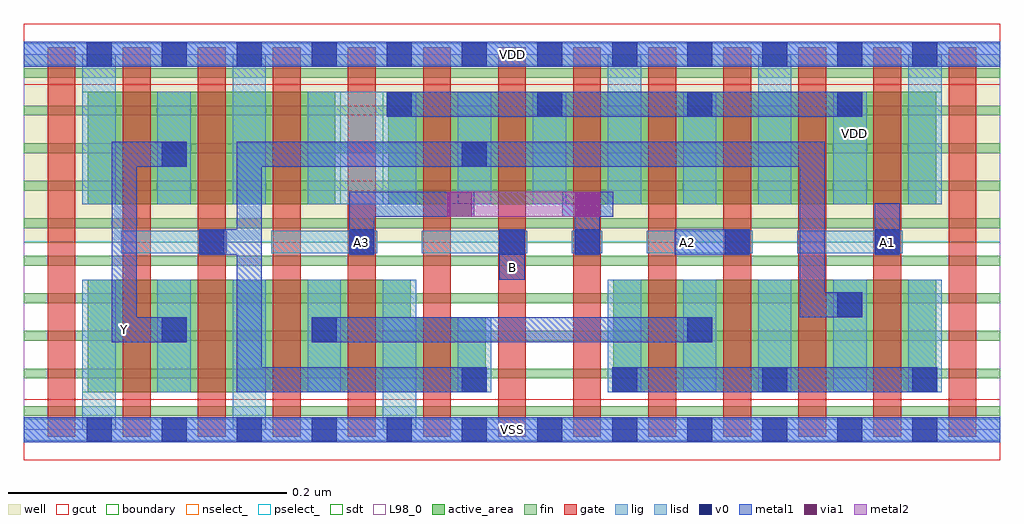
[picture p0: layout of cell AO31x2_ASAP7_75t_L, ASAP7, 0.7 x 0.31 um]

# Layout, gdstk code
import gdstk
lib = gdstk.Library(unit=1e-6, precision=2.5e-10)
def R(c, l, rs):  # rectangles x0, y0, x1, y1
    for r in rs: c.add(gdstk.rectangle(r[:2], r[2:], *l))
def A(c, l, x, y, w, h, nx, ny, dx, dy):  # array of equal rectangles
    R(c, l, [(x+i*dx, y+j*dy, x+i*dx+w, y+j*dy+h) for i in range(nx) for j in range(ny)])
def P(c, l, *ps):  # polygons
    for p in ps: c.add(gdstk.Polygon(p, *l))
well = (1, 0)
fin = (2, 0)
gate = (7, 0)
gcut = (10, 0)
active_area = (11, 0)
nselect_ = (12, 0)
pselect_ = (13, 0)
lig = (16, 0)
lisd = (17, 0)
v0 = (18, 0)
metal1 = (19, 0)
metal2 = (20, 0)
via1 = (21, 0)
sdt = (88, 0)
L98_0 = (98, 0)
boundary = (100, 0)

ao31x2_asap7_75t_l = lib.new_cell('AO31x2_ASAP7_75t_L')
R(ao31x2_asap7_75t_l, well, [(0,0.135,0.702,0.27)])
A(ao31x2_asap7_75t_l, fin, 0, 0.01, 0.702, 0.007, 1, 10, 0, 0.027)
A(ao31x2_asap7_75t_l, gate, 0.017, -0.005, 0.02, 0.28, 13, 1, 0.054, 0)
R(ao31x2_asap7_75t_l, gcut, [(0,-0.022,0.702,0.022), (0,0.248,0.702,0.292)])
R(ao31x2_asap7_75t_l, active_area, [(0.424,0.027,0.656,0.108), (0.046,0.162,0.224,0.243), (0.262,0.162,0.656,0.243)])
P(ao31x2_asap7_75t_l, active_area, [(0.046,0.027),(0.046,0.108),(0.278,0.108),(0.278,0.081),(0.332,0.081),(0.332,0.027)])
R(ao31x2_asap7_75t_l, nselect_, [(0,0,0.702,0.135)])
R(ao31x2_asap7_75t_l, pselect_, [(0,0.135,0.702,0.27)])
A(ao31x2_asap7_75t_l, lig, 0.07, 0.127, 0.076, 0.016, 3, 1, 0.108, 0)
R(ao31x2_asap7_75t_l, lig, [(0,-0.008,0.702,0.008), (0.394,0.127,0.416,0.143), (0.448,0.127,0.524,0.143), (0.556,0.127,0.632,0.143), (0,0.262,0.702,0.278)])
A(ao31x2_asap7_75t_l, lisd, 0.042, 0, 0.024, 0.108, 3, 1, 0.108, 0)
A(ao31x2_asap7_75t_l, lisd, 0.42, 0.027, 0.024, 0.081, 5, 1, 0.054, 0)
A(ao31x2_asap7_75t_l, lisd, 0.366, 0.162, 0.024, 0.081, 3, 1, 0.108, 0)
A(ao31x2_asap7_75t_l, lisd, 0.42, 0.162, 0.024, 0.108, 3, 1, 0.108, 0)
R(ao31x2_asap7_75t_l, lisd, [(0.096,0.027,0.12,0.108), (0.204,0.027,0.228,0.108), (0.312,0.027,0.336,0.081), (0.042,0.162,0.066,0.27), (0.096,0.162,0.12,0.243), (0.15,0.162,0.174,0.27), (0.204,0.162,0.282,0.243), (0.312,0.162,0.336,0.243)])
A(ao31x2_asap7_75t_l, v0, 0.045, -0.009, 0.018, 0.018, 12, 2, 0.054, 0.27)
A(ao31x2_asap7_75t_l, v0, 0.315, 0.027, 0.018, 0.018, 4, 1, 0.108, 0)
A(ao31x2_asap7_75t_l, v0, 0.126, 0.126, 0.018, 0.018, 3, 1, 0.108, 0)
A(ao31x2_asap7_75t_l, v0, 0.396, 0.126, 0.018, 0.018, 3, 1, 0.108, 0)
A(ao31x2_asap7_75t_l, v0, 0.261, 0.225, 0.018, 0.018, 4, 1, 0.108, 0)
R(ao31x2_asap7_75t_l, v0, [(0.099,0.063,0.117,0.081), (0.207,0.063,0.225,0.081), (0.477,0.063,0.495,0.081), (0.585,0.081,0.603,0.099), (0.099,0.189,0.117,0.207), (0.315,0.189,0.333,0.207)])
R(ao31x2_asap7_75t_l, metal1, [(0,-0.009,0.702,0.009), (0.423,0.027,0.657,0.045), (0.639,0.027,0.657,0.045), (0.207,0.063,0.495,0.081), (0.558,0.081,0.603,0.099), (0.558,0.081,0.576,0.207), (0.342,0.108,0.36,0.144), (0.396,0.126,0.414,0.171), (0.468,0.126,0.522,0.144), (0.612,0.126,0.63,0.163), (0.387,0.153,0.424,0.171), (0.261,0.225,0.603,0.243), (0,0.261,0.702,0.279)])
P(ao31x2_asap7_75t_l, metal1, [(0.234,0.126),(0.234,0.171),(0.324,0.171),(0.324,0.153),(0.252,0.153),(0.252,0.126)],
  [(0.063,0.063),(0.063,0.207),(0.117,0.207),(0.117,0.189),(0.081,0.189),(0.081,0.081),(0.117,0.081),(0.117,0.063)],
  [(0.153,0.027),(0.153,0.126),(0.126,0.126),(0.126,0.144),(0.153,0.144),(0.153,0.207),(0.576,0.207),(0.576,0.189),(0.171,0.189),(0.171,0.045),(0.333,0.045),(0.333,0.027)])
R(ao31x2_asap7_75t_l, metal2, [(0.304,0.153,0.414,0.171)])
R(ao31x2_asap7_75t_l, via1, [(0.304,0.153,0.322,0.171), (0.396,0.153,0.414,0.171)])
A(ao31x2_asap7_75t_l, sdt, 0.042, 0.027, 0.024, 0.081, 5, 1, 0.054, 0)
A(ao31x2_asap7_75t_l, sdt, 0.42, 0.027, 0.024, 0.081, 5, 1, 0.054, 0)
A(ao31x2_asap7_75t_l, sdt, 0.042, 0.162, 0.024, 0.081, 12, 1, 0.054, 0)
R(ao31x2_asap7_75t_l, sdt, [(0.312,0.027,0.336,0.081)])
R(ao31x2_asap7_75t_l, L98_0, [(0,0,0.702,0.27)])
R(ao31x2_asap7_75t_l, boundary, [(0,0,0.702,0.27)])
ao31x2_asap7_75t_l.add(gdstk.Label('Y', (0.072,0.072), layer=19, texttype=251))
ao31x2_asap7_75t_l.add(gdstk.Label('B', (0.351,0.117), layer=19, texttype=251))
ao31x2_asap7_75t_l.add(gdstk.Label('A3', (0.243,0.135), layer=19, texttype=251))
ao31x2_asap7_75t_l.add(gdstk.Label('A2', (0.477,0.135), layer=19, texttype=251))
ao31x2_asap7_75t_l.add(gdstk.Label('VSS', (0.351,0), layer=19, texttype=251))
ao31x2_asap7_75t_l.add(gdstk.Label('VDD', (0.351,0.27), layer=19, texttype=251))
ao31x2_asap7_75t_l.add(gdstk.Label('A1', (0.621,0.135), layer=19, texttype=251))
ao31x2_asap7_75t_l.add(gdstk.Label('VDD', (0.597,0.213), layer=1, texttype=251))
ao31x2_asap7_75t_l.add(gdstk.Label('VSS', (0.807,0.213), layer=3, texttype=251))

lib.write_gds('AO31x2_ASAP7_75t_L.gds')
